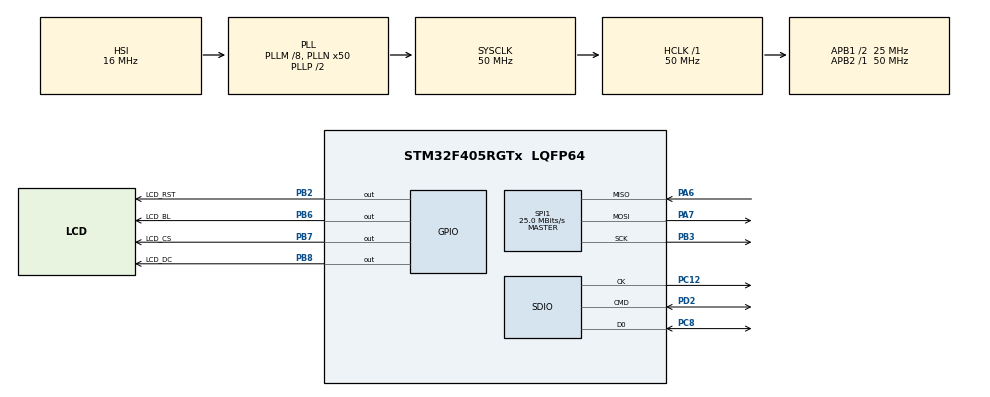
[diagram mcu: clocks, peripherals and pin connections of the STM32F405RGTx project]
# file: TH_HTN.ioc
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Dma.Request0=SDIO_RX
Dma.Request1=SDIO_TX
Dma.SDIO_RX.0.Direction=DMA_PERIPH_TO_MEMORY
Dma.SDIO_RX.0.FIFOMode=DMA_FIFOMODE_ENABLE
Dma.SDIO_RX.0.FIFOThreshold=DMA_FIFO_THRESHOLD_FULL
Dma.SDIO_RX.0.Instance=DMA2_Stream3
Dma.SDIO_RX.0.MemBurst=DMA_MBURST_INC4
Dma.SDIO_RX.0.MemDataAlignment=DMA_MDATAALIGN_WORD
Dma.SDIO_RX.0.MemInc=DMA_MINC_ENABLE
Dma.SDIO_RX.0.Mode=DMA_PFCTRL
Dma.SDIO_RX.0.PeriphBurst=DMA_PBURST_INC4
Dma.SDIO_RX.0.PeriphDataAlignment=DMA_PDATAALIGN_WORD
Dma.SDIO_RX.0.PeriphInc=DMA_PINC_DISABLE
Dma.SDIO_RX.0.Priority=DMA_PRIORITY_LOW
Dma.SDIO_TX.1.Direction=DMA_MEMORY_TO_PERIPH
Dma.SDIO_TX.1.FIFOMode=DMA_FIFOMODE_ENABLE
Dma.SDIO_TX.1.FIFOThreshold=DMA_FIFO_THRESHOLD_FULL
Dma.SDIO_TX.1.Instance=DMA2_Stream6
Dma.SDIO_TX.1.MemBurst=DMA_MBURST_INC4
Dma.SDIO_TX.1.MemDataAlignment=DMA_MDATAALIGN_WORD
Dma.SDIO_TX.1.MemInc=DMA_MINC_ENABLE
Dma.SDIO_TX.1.Mode=DMA_PFCTRL
Dma.SDIO_TX.1.PeriphBurst=DMA_PBURST_INC4
Dma.SDIO_TX.1.PeriphDataAlignment=DMA_PDATAALIGN_WORD
Dma.SDIO_TX.1.PeriphInc=DMA_PINC_DISABLE
Dma.SDIO_TX.1.Priority=DMA_PRIORITY_LOW
FATFS.USE_DMA_CODE_SD=1
FATFS._MAX_SS=4096
FATFS._USE_STRFUNC=1
Mcu.Family=STM32F4
Mcu.Name=STM32F405RGTx
Mcu.Package=LQFP64
NVIC.DMA2_Stream3_IRQn=true\:0\:0\:false\:false\:true\:false\:true\:true
NVIC.DMA2_Stream6_IRQn=true\:0\:0\:false\:false\:true\:false\:true\:true
NVIC.PriorityGroup=NVIC_PRIORITYGROUP_4
PA6.Mode=Full_Duplex_Master
PA6.Signal=SPI1_MISO
PA7.Mode=Full_Duplex_Master
PA7.Signal=SPI1_MOSI
PB2.GPIO_Label=LCD_RST
PB2.Signal=GPIO_Output
PB3.Mode=Full_Duplex_Master
PB3.Signal=SPI1_SCK
PB6.GPIO_Label=LCD_BL
PB6.GPIO_PuPd=GPIO_PULLUP
PB6.GPIO_Speed=GPIO_SPEED_FREQ_HIGH
PB6.PinState=GPIO_PIN_SET
PB6.Signal=GPIO_Output
PB7.GPIO_Label=LCD_CS
PB7.Signal=GPIO_Output
PB8.GPIO_Label=LCD_DC
PB8.Signal=GPIO_Output
PC12.GPIO_Mode=GPIO_MODE_AF_PP
PC12.GPIO_PuPd=GPIO_PULLDOWN
PC12.GPIO_Speed_High_Default=GPIO_SPEED_FREQ_VERY_HIGH
PC12.Mode=SD_1_bit
PC12.Signal=SDIO_CK
PC8.GPIO_Mode=GPIO_MODE_AF_PP
PC8.GPIO_PuPd=GPIO_PULLUP
PC8.GPIO_Speed_High_Default=GPIO_SPEED_FREQ_VERY_HIGH
PC8.Mode=SD_1_bit
PC8.Signal=SDIO_D0
PD2.GPIO_Mode=GPIO_MODE_AF_PP
PD2.GPIO_PuPd=GPIO_PULLUP
PD2.GPIO_Speed_High_Default=GPIO_SPEED_FREQ_VERY_HIGH
PD2.Mode=SD_1_bit
PD2.Signal=SDIO_CMD
PH0-OSC_IN.Mode=HSE-External-Oscillator
PH0-OSC_IN.Signal=RCC_OSC_IN
PH1-OSC_OUT.Mode=HSE-External-Oscillator
PH1-OSC_OUT.Signal=RCC_OSC_OUT
ProjectManager.HeapSize=0x400
ProjectManager.StackSize=0x800
ProjectManager.TargetToolchain=STM32CubeIDE
RCC.48MHZClocksFreq_Value=25000000
RCC.AHBFreq_Value=50000000
RCC.APB1CLKDivider=RCC_HCLK_DIV2
RCC.APB1Freq_Value=25000000
RCC.APB1TimFreq_Value=50000000
RCC.APB2Freq_Value=50000000
RCC.APB2TimFreq_Value=50000000
RCC.CortexFreq_Value=50000000
RCC.HCLKFreq_Value=50000000
RCC.HSE_VALUE=25000000
RCC.HSI_VALUE=16000000
RCC.LSE_VALUE=32768
RCC.PLLM=8
RCC.PLLN=50
RCC.SYSCLKFreq_VALUE=50000000
RCC.SYSCLKSource=RCC_SYSCLKSOURCE_PLLCLK
RCC.VCOOutputFreq_Value=100000000
SDIO.ClockDiv=4
SPI1.CalculateBaudRate=25.0 MBits/s
SPI1.Direction=SPI_DIRECTION_2LINES
SPI1.Mode=SPI_MODE_MASTER
SPI1.VirtualType=VM_MASTER
VP_FATFS_VS_SDIO.Mode=SDIO
board=custom

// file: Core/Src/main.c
/* USER CODE BEGIN Header */
/**
  ******************************************************************************
  * @file           : main.c
  * @brief          : Main program body
  ******************************************************************************
  * @attention
  *
  * Copyright (c) 2023 STMicroelectronics.
  * All rights reserved.
  *
  * This software is licensed under terms that can be found in the LICENSE file
  * in the root directory of this software component.
  * If no LICENSE file comes with this software, it is provided AS-IS.
  *
  ******************************************************************************
  */
/* USER CODE END Header */
#include "main.h"
#include "fatfs.h"

/* USER CODE BEGIN Includes */
#include "lcd.h"
#include "string.h"
#include "stdio.h"
#include "stdlib.h"
/* USER CODE END Includes */

SD_HandleTypeDef hsd;
DMA_HandleTypeDef hdma_sdio_rx;
DMA_HandleTypeDef hdma_sdio_tx;

SPI_HandleTypeDef hspi1;

void SystemClock_Config(void);
static void MX_GPIO_Init(void);
static void MX_DMA_Init(void);
static void MX_SPI1_Init(void);
static void MX_SDIO_SD_Init(void);

int main(void)
{

  /* MCU Configuration--------------------------------------------------------*/

  /* Reset of all peripherals, Initializes the Flash interface and the Systick. */
  HAL_Init();

  /* Configure the system clock */
  SystemClock_Config();

  /* Initialize all configured peripherals */
  MX_GPIO_Init();
  MX_DMA_Init();
  MX_SPI1_Init();
  MX_SDIO_SD_Init();
  MX_FATFS_Init();
  /* USER CODE BEGIN 2 */
  char file[40];
  LCD_Init();
  LCD_Fill_Color(WHITE);
  HAL_Delay(2000);
  LCD_WriteString(0,200,"        Nhom 8       ",Font_11x18,YELLOW,RED);
  LCD_WriteString(0,218,"Chao thay va cac ban ",Font_11x18,BLUE,BROWN);
  LCD_WriteString(0,236,"#####################",Font_11x18,WHITE,BLACK);
  HAL_Delay(1500);
  LCD_Fill_Color(BLACK);
  FATFS FatFs;   /* Work area (filesystem object) for logical drive */
  FIL fil;        /* File object */
  FRESULT fr;     /* FatFs return code */
  FILINFO fno;
  //
  fr=f_mount(&FatFs, "", 1);
  if(fr==FR_OK){
	  LCD_WriteString(0,3,"...OPENING SD_CARD SUCCESSFUL !!!",Font_7x10,GREEN,BLACK);
  }
  else{
	  LCD_WriteString(0,3,"...OPENING SD_CARD FAILS !!!      ",Font_7x10,RED,BLACK);
  }
  //
  fr =f_stat("STM.txt", &fno);
  if(fr==FR_OK){
	  LCD_WriteString(0,15,"...FILE READY !!!                ",Font_7x10,GREEN,BLACK);
  }
  else{
	  LCD_WriteString(0,15,"...FILE ERROR !!!                ",Font_7x10,RED,BLACK);
  }
  //
  fr = f_open(&fil, "STM.txt",FA_READ);
  if(fr==FR_OK){
	  LCD_WriteString(0,27,"...OPENING FILE SUCCESSFUL !!!   ",Font_7x10,GREEN,BLACK);
  }
  else{
	  LCD_WriteString(0,27,"...FILE ERROR !!!                ",Font_7x10,RED,BLACK);
  }

  f_gets((uint8_t *)file, f_size(&fil), &fil);
  HAL_Delay(20);
  LCD_WriteString(0,39,&file,Font_11x18,WHITE,BLACK);
  HAL_Delay(2000);

  f_close(&fil);
  f_mount(&FatFs, "",0);

  LCD_Fill_Color(RED);
  /* USER CODE END 2 */

  /* Infinite loop */
  while (1)
  {

  }
}

void SystemClock_Config(void)
{
  RCC_OscInitTypeDef RCC_OscInitStruct = {0};
  RCC_ClkInitTypeDef RCC_ClkInitStruct = {0};

  /** Configure the main internal regulator output voltage
  */
  __HAL_RCC_PWR_CLK_ENABLE();
  __HAL_PWR_VOLTAGESCALING_CONFIG(PWR_REGULATOR_VOLTAGE_SCALE1);

  /** Initializes the RCC Oscillators according to the specified parameters
  * in the RCC_OscInitTypeDef structure.
  */
  RCC_OscInitStruct.OscillatorType = RCC_OSCILLATORTYPE_HSI;
  RCC_OscInitStruct.HSIState = RCC_HSI_ON;
  RCC_OscInitStruct.HSICalibrationValue = RCC_HSICALIBRATION_DEFAULT;
  RCC_OscInitStruct.PLL.PLLState = RCC_PLL_ON;
  RCC_OscInitStruct.PLL.PLLSource = RCC_PLLSOURCE_HSI;
  RCC_OscInitStruct.PLL.PLLM = 8;
  RCC_OscInitStruct.PLL.PLLN = 50;
  RCC_OscInitStruct.PLL.PLLP = RCC_PLLP_DIV2;
  RCC_OscInitStruct.PLL.PLLQ = 4;
  if (HAL_RCC_OscConfig(&RCC_OscInitStruct) != HAL_OK)
  {
    Error_Handler();
  }

  /** Initializes the CPU, AHB and APB buses clocks
  */
  RCC_ClkInitStruct.ClockType = RCC_CLOCKTYPE_HCLK|RCC_CLOCKTYPE_SYSCLK
                              |RCC_CLOCKTYPE_PCLK1|RCC_CLOCKTYPE_PCLK2;
  RCC_ClkInitStruct.SYSCLKSource = RCC_SYSCLKSOURCE_PLLCLK;
  RCC_ClkInitStruct.AHBCLKDivider = RCC_SYSCLK_DIV1;
  RCC_ClkInitStruct.APB1CLKDivider = RCC_HCLK_DIV2;
  RCC_ClkInitStruct.APB2CLKDivider = RCC_HCLK_DIV1;

  if (HAL_RCC_ClockConfig(&RCC_ClkInitStruct, FLASH_LATENCY_1) != HAL_OK)
  {
    Error_Handler();
  }
}

static void MX_SDIO_SD_Init(void)
{

  hsd.Instance = SDIO;
  hsd.Init.ClockEdge = SDIO_CLOCK_EDGE_RISING;
  hsd.Init.ClockBypass = SDIO_CLOCK_BYPASS_DISABLE;
  hsd.Init.ClockPowerSave = SDIO_CLOCK_POWER_SAVE_DISABLE;
  hsd.Init.BusWide = SDIO_BUS_WIDE_1B;
  hsd.Init.HardwareFlowControl = SDIO_HARDWARE_FLOW_CONTROL_DISABLE;
  hsd.Init.ClockDiv = 4;

}

static void MX_SPI1_Init(void)
{

  /* SPI1 parameter configuration*/
  hspi1.Instance = SPI1;
  hspi1.Init.Mode = SPI_MODE_MASTER;
  hspi1.Init.Direction = SPI_DIRECTION_2LINES;
  hspi1.Init.DataSize = SPI_DATASIZE_8BIT;
  hspi1.Init.CLKPolarity = SPI_POLARITY_LOW;
  hspi1.Init.CLKPhase = SPI_PHASE_1EDGE;
  hspi1.Init.NSS = SPI_NSS_SOFT;
  hspi1.Init.BaudRatePrescaler = SPI_BAUDRATEPRESCALER_2;
  hspi1.Init.FirstBit = SPI_FIRSTBIT_MSB;
  hspi1.Init.TIMode = SPI_TIMODE_DISABLE;
  hspi1.Init.CRCCalculation = SPI_CRCCALCULATION_DISABLE;
  hspi1.Init.CRCPolynomial = 10;
  if (HAL_SPI_Init(&hspi1) != HAL_OK)
  {
    Error_Handler();
  }

}

static void MX_DMA_Init(void)
{

  /* DMA controller clock enable */
  __HAL_RCC_DMA2_CLK_ENABLE();

  /* DMA interrupt init */
  /* DMA2_Stream3_IRQn interrupt configuration */
  HAL_NVIC_SetPriority(DMA2_Stream3_IRQn, 0, 0);
  HAL_NVIC_EnableIRQ(DMA2_Stream3_IRQn);
  /* DMA2_Stream6_IRQn interrupt configuration */
  HAL_NVIC_SetPriority(DMA2_Stream6_IRQn, 0, 0);
  HAL_NVIC_EnableIRQ(DMA2_Stream6_IRQn);

}

static void MX_GPIO_Init(void)
{
  GPIO_InitTypeDef GPIO_InitStruct = {0};

  /* GPIO Ports Clock Enable */
  __HAL_RCC_GPIOH_CLK_ENABLE();
  __HAL_RCC_GPIOA_CLK_ENABLE();
  __HAL_RCC_GPIOB_CLK_ENABLE();
  __HAL_RCC_GPIOC_CLK_ENABLE();
  __HAL_RCC_GPIOD_CLK_ENABLE();

  /*Configure GPIO pin Output Level */
  HAL_GPIO_WritePin(GPIOB, LCD_RST_Pin|LCD_CS_Pin|LCD_DC_Pin, GPIO_PIN_RESET);

  /*Configure GPIO pin Output Level */
  HAL_GPIO_WritePin(LCD_BL_GPIO_Port, LCD_BL_Pin, GPIO_PIN_SET);

  /*Configure GPIO pins : LCD_RST_Pin LCD_CS_Pin LCD_DC_Pin */
  GPIO_InitStruct.Pin = LCD_RST_Pin|LCD_CS_Pin|LCD_DC_Pin;
  GPIO_InitStruct.Mode = GPIO_MODE_OUTPUT_PP;
  GPIO_InitStruct.Pull = GPIO_NOPULL;
  GPIO_InitStruct.Speed = GPIO_SPEED_FREQ_LOW;
  HAL_GPIO_Init(GPIOB, &GPIO_InitStruct);

  /*Configure GPIO pin : LCD_BL_Pin */
  GPIO_InitStruct.Pin = LCD_BL_Pin;
  GPIO_InitStruct.Mode = GPIO_MODE_OUTPUT_PP;
  GPIO_InitStruct.Pull = GPIO_PULLUP;
  GPIO_InitStruct.Speed = GPIO_SPEED_FREQ_HIGH;
  HAL_GPIO_Init(LCD_BL_GPIO_Port, &GPIO_InitStruct);

}

void Error_Handler(void)
{
  __disable_irq();
  while (1)
  {
  }
}
